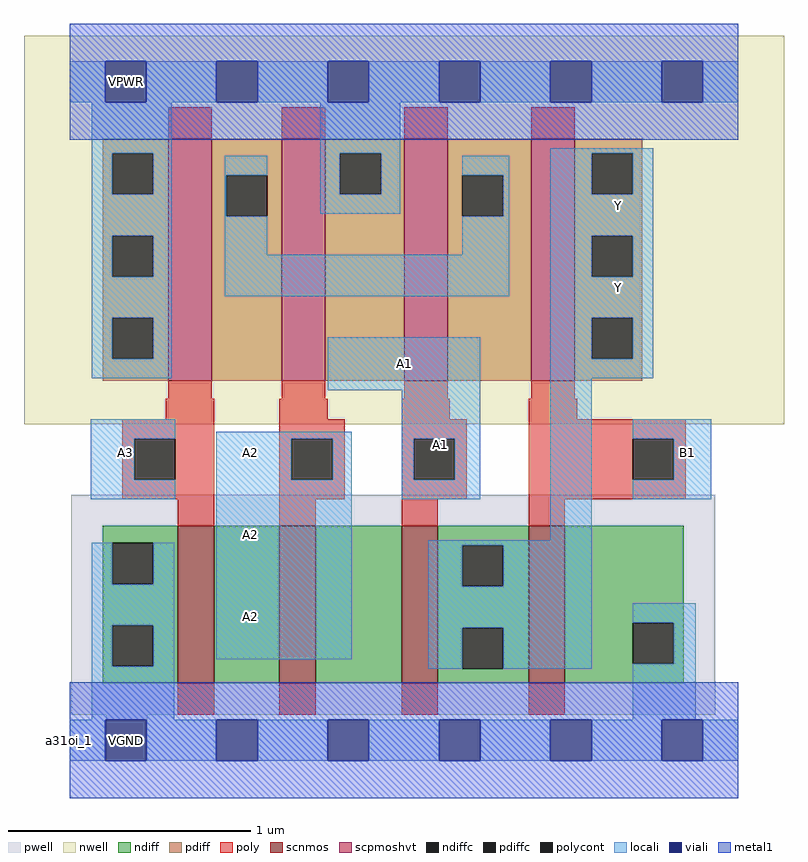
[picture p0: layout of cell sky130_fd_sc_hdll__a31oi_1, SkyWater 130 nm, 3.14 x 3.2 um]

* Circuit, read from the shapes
.subckt sky130_fd_sc_hdll__a31oi_1 A1 A2 A3 B1 VGND VNB VPB VPWR Y
XM1 n1 A3 VGND VNB sky130_fd_pr__nfet_01v8 w=0.65 l=0.15
XM2 n2 A2 n1 VNB sky130_fd_pr__nfet_01v8 w=0.65 l=0.15
XM3 Y A1 n2 VNB sky130_fd_pr__nfet_01v8 w=0.65 l=0.15
XM4 VGND B1 Y VNB sky130_fd_pr__nfet_01v8 w=0.65 l=0.15
XM5 n3 A3 VPWR VPB sky130_fd_pr__pfet_01v8_hvt w=1 l=0.18
XM6 VPWR A2 n3 VPB sky130_fd_pr__pfet_01v8_hvt w=1 l=0.18
XM7 n3 A1 VPWR VPB sky130_fd_pr__pfet_01v8_hvt w=1 l=0.18
XM8 Y B1 n3 VPB sky130_fd_pr__pfet_01v8_hvt w=1 l=0.18
.ends

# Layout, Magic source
magic
tech sky130A
magscale 1 2
<< nwell >>
rect -38 261 590 582
<< pwell >>
rect 1 21 533 203
rect 30 -17 64 21
<< scnmos >>
rect 89 47 119 177
rect 173 47 203 177
rect 274 47 304 177
rect 379 47 409 177
<< scpmoshvt >>
rect 81 297 117 497
rect 175 297 211 497
rect 276 297 312 497
rect 381 297 417 497
<< ndiff >>
rect 27 163 89 177
rect 27 129 35 163
rect 69 129 89 163
rect 27 95 89 129
rect 27 61 35 95
rect 69 61 89 95
rect 27 47 89 61
rect 119 47 173 177
rect 203 47 274 177
rect 304 161 379 177
rect 304 127 324 161
rect 358 127 379 161
rect 304 93 379 127
rect 304 59 324 93
rect 358 59 379 93
rect 304 47 379 59
rect 409 97 507 177
rect 409 63 465 97
rect 499 63 507 97
rect 409 47 507 63
<< pdiff >>
rect 27 485 81 497
rect 27 451 35 485
rect 69 451 81 485
rect 27 417 81 451
rect 27 383 35 417
rect 69 383 81 417
rect 27 349 81 383
rect 27 315 35 349
rect 69 315 81 349
rect 27 297 81 315
rect 117 467 175 497
rect 117 433 129 467
rect 163 433 175 467
rect 117 297 175 433
rect 211 485 276 497
rect 211 451 223 485
rect 257 451 276 485
rect 211 297 276 451
rect 312 467 381 497
rect 312 433 324 467
rect 358 433 381 467
rect 312 297 381 433
rect 417 485 473 497
rect 417 451 431 485
rect 465 451 473 485
rect 417 417 473 451
rect 417 383 431 417
rect 465 383 473 417
rect 417 349 473 383
rect 417 315 431 349
rect 465 315 473 349
rect 417 297 473 315
<< ndiffc >>
rect 35 129 69 163
rect 35 61 69 95
rect 324 127 358 161
rect 324 59 358 93
rect 465 63 499 97
<< pdiffc >>
rect 35 451 69 485
rect 35 383 69 417
rect 35 315 69 349
rect 129 433 163 467
rect 223 451 257 485
rect 324 433 358 467
rect 431 451 465 485
rect 431 383 465 417
rect 431 315 465 349
<< poly >>
rect 81 497 117 523
rect 175 497 211 523
rect 276 497 312 523
rect 381 497 417 523
rect 81 282 117 297
rect 175 282 211 297
rect 276 282 312 297
rect 381 282 417 297
rect 79 265 119 282
rect 43 249 119 265
rect 43 215 53 249
rect 87 215 119 249
rect 43 199 119 215
rect 89 177 119 199
rect 173 265 213 282
rect 274 265 314 282
rect 379 265 419 282
rect 173 249 227 265
rect 173 215 183 249
rect 217 215 227 249
rect 173 199 227 215
rect 274 249 328 265
rect 274 215 284 249
rect 318 215 328 249
rect 274 199 328 215
rect 379 249 509 265
rect 379 215 465 249
rect 499 215 509 249
rect 379 199 509 215
rect 173 177 203 199
rect 274 177 304 199
rect 379 177 409 199
rect 89 21 119 47
rect 173 21 203 47
rect 274 21 304 47
rect 379 21 409 47
<< polycont >>
rect 53 215 87 249
rect 183 215 217 249
rect 284 215 318 249
rect 465 215 499 249
<< locali >>
rect 0 527 29 561
rect 63 527 121 561
rect 155 527 213 561
rect 247 527 305 561
rect 339 527 397 561
rect 431 527 489 561
rect 523 527 552 561
rect 18 485 84 527
rect 18 451 35 485
rect 69 451 84 485
rect 207 485 273 527
rect 18 417 84 451
rect 18 383 35 417
rect 69 383 84 417
rect 18 349 84 383
rect 128 467 163 483
rect 128 433 129 467
rect 207 451 223 485
rect 257 451 273 485
rect 397 485 482 489
rect 207 435 273 451
rect 324 467 363 483
rect 128 401 163 433
rect 358 433 363 467
rect 324 401 363 433
rect 128 367 363 401
rect 397 451 431 485
rect 465 451 482 485
rect 397 417 482 451
rect 397 383 431 417
rect 465 383 482 417
rect 18 315 35 349
rect 69 315 84 349
rect 397 349 482 383
rect 18 299 84 315
rect 213 289 339 333
rect 17 249 87 265
rect 17 215 53 249
rect 17 199 87 215
rect 121 249 233 255
rect 121 215 183 249
rect 217 215 233 249
rect 18 129 35 163
rect 69 129 86 163
rect 18 95 86 129
rect 18 61 35 95
rect 69 61 86 95
rect 121 67 233 215
rect 274 249 339 289
rect 274 215 284 249
rect 318 215 339 249
rect 274 199 339 215
rect 397 315 431 349
rect 465 315 482 349
rect 397 299 482 315
rect 397 165 431 299
rect 465 249 530 265
rect 499 215 530 249
rect 465 199 530 215
rect 296 161 431 165
rect 296 127 324 161
rect 358 127 431 161
rect 296 93 431 127
rect 18 17 86 61
rect 296 59 324 93
rect 358 59 431 93
rect 465 97 517 113
rect 499 63 517 97
rect 465 17 517 63
rect 0 -17 29 17
rect 63 -17 121 17
rect 155 -17 213 17
rect 247 -17 305 17
rect 339 -17 397 17
rect 431 -17 489 17
rect 523 -17 552 17
<< viali >>
rect 29 527 63 561
rect 121 527 155 561
rect 213 527 247 561
rect 305 527 339 561
rect 397 527 431 561
rect 489 527 523 561
rect 29 -17 63 17
rect 121 -17 155 17
rect 213 -17 247 17
rect 305 -17 339 17
rect 397 -17 431 17
rect 489 -17 523 17
<< metal1 >>
rect 0 561 552 592
rect 0 527 29 561
rect 63 527 121 561
rect 155 527 213 561
rect 247 527 305 561
rect 339 527 397 561
rect 431 527 489 561
rect 523 527 552 561
rect 0 496 552 527
rect 0 17 552 48
rect 0 -17 29 17
rect 63 -17 121 17
rect 155 -17 213 17
rect 247 -17 305 17
rect 339 -17 397 17
rect 431 -17 489 17
rect 523 -17 552 17
rect 0 -48 552 -17
<< labels >>
flabel metal1 s 30 -17 64 17 0 FreeSans 200 0 0 0 VGND
port 5 nsew ground bidirectional
flabel metal1 s 30 527 64 561 0 FreeSans 200 0 0 0 VPWR
port 8 nsew power bidirectional
flabel locali s 436 425 470 459 0 FreeSans 200 0 0 0 Y
port 9 nsew signal output
flabel locali s 436 357 470 391 0 FreeSans 200 0 0 0 Y
port 9 nsew signal output
flabel locali s 493 221 527 255 0 FreeSans 200 0 0 0 B1
port 4 nsew signal input
flabel locali s 132 221 166 255 0 FreeSans 200 0 0 0 A2
port 2 nsew signal input
flabel locali s 132 153 166 187 0 FreeSans 200 0 0 0 A2
port 2 nsew signal input
flabel locali s 274 199 339 289 0 FreeSans 200 0 0 0 A1
port 1 nsew signal input
flabel locali s 132 85 166 119 0 FreeSans 200 0 0 0 A2
port 2 nsew signal input
flabel locali s 29 221 63 255 0 FreeSans 200 0 0 0 A3
port 3 nsew signal input
flabel nwell s 30 527 64 561 0 FreeSans 200 0 0 0 VPB
port 7 nsew power bidirectional
flabel pwell s 30 -17 64 17 0 FreeSans 200 0 0 0 VNB
port 6 nsew ground bidirectional
rlabel comment s 0 0 0 0 4 a31oi_1
rlabel locali s 213 289 339 333 1 A1
port 1 nsew signal input
<< properties >>
string LEFsite unithd
string LEFclass CORE
string FIXED_BBOX 0 0 552 544
string GDS_FILE $PDKPATH/libs.ref/sky130_fd_sc_hdll/gds/sky130_fd_sc_hdll.gds
string LEFsymmetry X Y R90
string GDS_END 1579554
string GDS_START 1574100
string LEFproperties maskLayoutSubType "abstract" prCellType "standard" originalViewName "layout"
<< end >>
